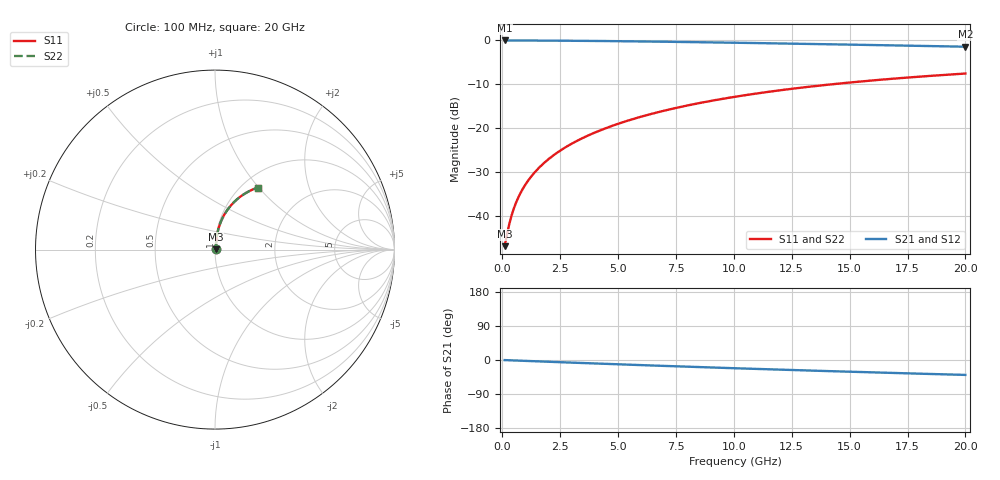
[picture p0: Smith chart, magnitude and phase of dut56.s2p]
! Touchstone file exported from HFSS 2024.1.0
!  File:  C:/UserFiles/LocalFiles/RDL_TSV_Batchsim/temp_RDL_top_56_1778681527.aedt
!  Generated:  10:14:33 PM May 13, 2026
!  Design:  RDL_top
!  Project:  temp_RDL_top_56_1778681527
!  Setup:  Setup1
!  Solution:  Sweep
! Variables:
!  dtsv = 10.80580581um
!  hbump = 3um
!  htsv = 61.94um
!  ldown = 100um
!  lrdl = 496.71um
!  p = 40
!  p1 = 54.92um
!  rhole = 1um
!  t = 450um
!  tdown = 3.915915916um
!  trdl = 2.58um
!  wdown = 15.38538539um
!  wrdl = 18.37um
# GHz S MA R 50.000000
! Terminal data exported
! Port[1] = Box2_T1
! Port[2] = Box2_T2
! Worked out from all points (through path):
!   200 points, 100 MHz to 20 GHz, reference 50 ohm
!   highest |S21| = -0.03 dB at 100 MHz (marker M1); lowest = -1.5 dB at 20 GHz (marker M2)
!   group delay of S21, straight-line fit = 5.44 ps
!   lowest |S11| = -46.8 dB at 100 MHz (marker M3), VSWR 1.01, Z = 50.4 + j0.238 ohm
!   |S11| at or under -10 dB: start of sweep to 14.22 GHz
!   |S22| runs from -46.8 to -7.6 dB; largest |S21 - S12| = 2.7e-15
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0.1  0.004583 31.0  0.9961 -0.2  0.9961 -0.2  0.004583 31.0
! Gamma 0 0 0 0
! Port Impedance 50 0 50 0
0.2  0.006177 49.5  0.996 -0.5  0.996 -0.5  0.006177 49.5
0.3  0.008127 59.4  0.9958 -0.7  0.9958 -0.7  0.008127 59.4
0.4  0.0102 65.2  0.9957 -1.0  0.9957 -1.0  0.0102 65.2
0.5  0.01231 68.9  0.9955 -1.2  0.9955 -1.2  0.01231 68.9
0.6  0.01444 71.5  0.9953 -1.4  0.9953 -1.4  0.01444 71.5
0.8  0.0187 74.9  0.9949 -1.9  0.9949 -1.9  0.0187 74.9
1.1  0.02513 77.9  0.9943 -2.6  0.9943 -2.6  0.02513 77.9
1.3  0.02945 79.1  0.9939 -3.0  0.9939 -3.0  0.02945 79.1
1.6  0.03596 80.4  0.9931 -3.7  0.9931 -3.7  0.03596 80.4
2.1  0.04693 81.5  0.9917 -4.9  0.9917 -4.9  0.04692 81.5
2.7  0.06024 82.1  0.9895 -6.3  0.9895 -6.3  0.06024 82.1
3.5  0.07823 82.1  0.986 -8.1  0.986 -8.1  0.07823 82.0
4.2  0.09416 81.6  0.9823 -9.6  0.9823 -9.6  0.09416 81.6
5  0.1125 80.9  0.9775 -11.4  0.9775 -11.4  0.1125 80.9
5.9  0.1334 79.8  0.9715 -13.3  0.9715 -13.3  0.1333 79.7
6.8  0.1542 78.5  0.965 -15.2  0.965 -15.2  0.1542 78.5
8.4  0.1911 75.9  0.9525 -18.5  0.9525 -18.5  0.191 75.8
10.1  0.2294 72.9  0.9381 -21.9  0.9381 -21.9  0.2294 72.9
13.4  0.2998 66.9  0.9083 -28.1  0.9083 -28.1  0.2997 66.9
16.7  0.3632 61.0  0.8772 -33.9  0.8772 -33.9  0.3631 61.0
20  0.419 55.5  0.8458 -39.3  0.8458 -39.3  0.4189 55.5
